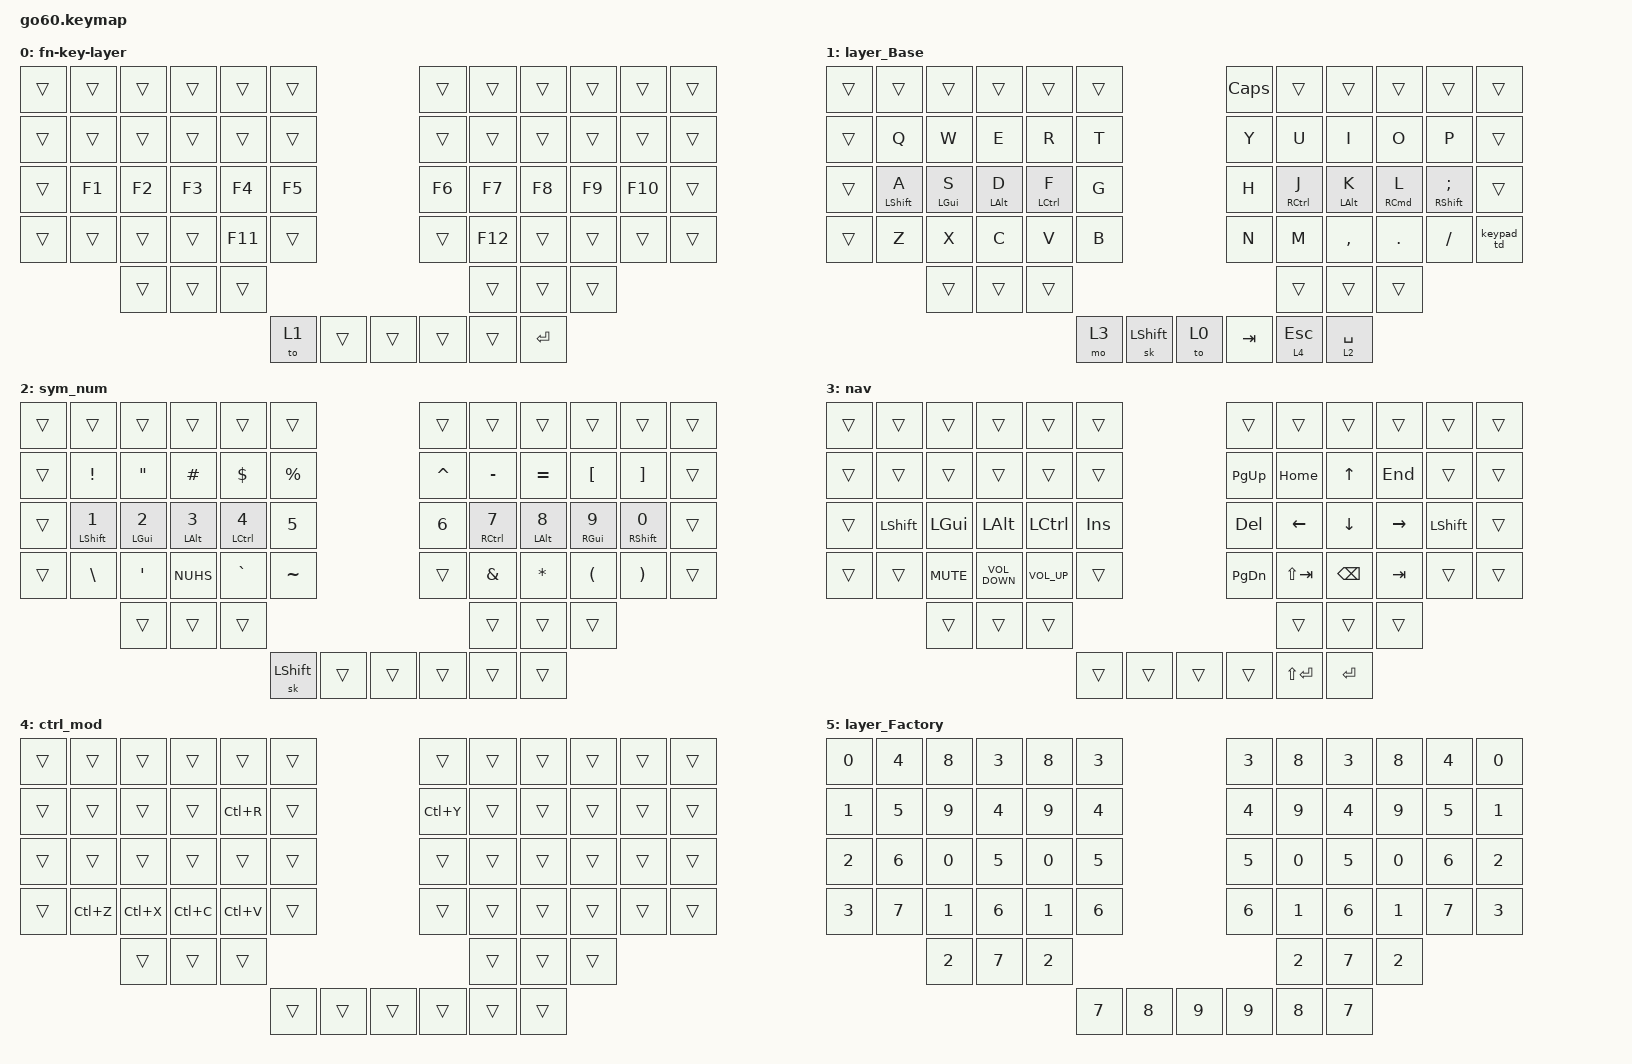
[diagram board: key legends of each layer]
/*
 * Copyright (c) 2020 The ZMK Contributors
 *
 * SPDX-License-Identifier: MIT
 */

#include <dt-bindings/zmk/input_transform.h>
#include <input/processors.dtsi>
#include <zephyr/dt-bindings/input/input-event-codes.h>
#include <behaviors.dtsi>
#include <dt-bindings/zmk/bt.h>
#include <dt-bindings/zmk/keys.h>
#include <dt-bindings/zmk/outputs.h>
#include <dt-bindings/zmk/rgb.h>

// layers

#define LAYER_Base 0
#define LAYER_Keypad 1
#define LAYER_SymbolNav 2
#define LAYER_Magic 3
#define LAYER_Factory 4

/ {
    input_processors {
        zip_click_to_right_click_mapper: zip_click_to_right_click_mapper {
            compatible = "zmk,input-processor-code-mapper";
            #input-processor-cells = <0>;
            type = <INPUT_EV_KEY>;
            map = <INPUT_BTN_0 INPUT_BTN_1>;
        };
    };

    behaviors {
        magic: magic {
            compatible = "zmk,behavior-hold-tap";
            #binding-cells = <2>;
            flavor = "tap-preferred";
            tapping-term-ms = <200>;
            bindings = <&mo>, <&rgb_ug_status_macro>;
        };

        keypad_td: keypad_td {
            compatible = "zmk,behavior-tap-dance";
            #binding-cells = <0>;
            tapping-term-ms = <200>;
            bindings = <&mo 0>, <&to 0>;
        };

        symbol_nav_td: symbol_nav_td {
            compatible = "zmk,behavior-tap-dance";
            #binding-cells = <0>;
            tapping-term-ms = <200>;
            bindings = <&mo 0>, <&to 0>;
        };

        bt_0: bt_0 {
            compatible = "zmk,behavior-tap-dance";
            #binding-cells = <0>;
            tapping-term-ms = <200>;
            bindings = <&bt_select_0>, <&bt BT_DISC 0>;
        };

        bt_1: bt_1 {
            compatible = "zmk,behavior-tap-dance";
            #binding-cells = <0>;
            tapping-term-ms = <200>;
            bindings = <&bt_select_1>, <&bt BT_DISC 1>;
        };

        bt_2: bt_2 {
            compatible = "zmk,behavior-tap-dance";
            #binding-cells = <0>;
            tapping-term-ms = <200>;
            bindings = <&bt_select_2>, <&bt BT_DISC 2>;
        };

        bt_3: bt_3 {
            compatible = "zmk,behavior-tap-dance";
            #binding-cells = <0>;
            tapping-term-ms = <200>;
            bindings = <&bt_select_3>, <&bt BT_DISC 3>;
        };

        hmsl: homerow_mods_shift_left {
            compatible = "zmk,behavior-hold-tap";
            label = "HOMEROW_MODS_SHIFT_LEFT";
            bindings = <&kp>, <&kp>;

            #binding-cells = <2>;
            tapping-term-ms = <150>;
            hold-trigger-key-positions = <0 1 2 3 4 5 12 13 14 15 16 17 24 25 26 27 28 29 36 37 38 39 40 41 48 49 50 54 55 56>;
            flavor = "balanced";
        };

        hmsr: homerow_mods_shift_right {
            compatible = "zmk,behavior-hold-tap";
            label = "HOMEROW_MODS_SHIFT_RIGHT";
            bindings = <&kp>, <&kp>;

            #binding-cells = <2>;
            tapping-term-ms = <150>;
            flavor = "balanced";
            hold-trigger-key-positions = <6 7 8 9 10 11 18 19 20 21 22 23 30 31 32 33 34 35 42 43 44 45 46 47 51 52 53 57 58 59>;
        };

        hml: homerow_mods_left {
            compatible = "zmk,behavior-hold-tap";
            label = "HOMEROW_MODS_LEFT_HAND";
            bindings = <&kp>, <&kp>;

            #binding-cells = <2>;
            tapping-term-ms = <200>;
            flavor = "balanced";
            hold-trigger-key-positions = <0 1 2 3 4 5 12 13 14 15 16 17 24 25 26 27 28 29 36 37 38 39 40 41 48 49 50 54 55 56>;
        };

        hmr: homerow_mods_right {
            compatible = "zmk,behavior-hold-tap";
            label = "HOMEROW_MODS_RIGHT_HAND";
            bindings = <&kp>, <&kp>;

            #binding-cells = <2>;
            tapping-term-ms = <200>;
            flavor = "balanced";
            hold-trigger-key-positions = <6 7 8 9 10 11 18 19 20 21 22 23 30 31 32 33 34 35 42 43 44 45 46 47 51 52 53 57 58 59>;
        };

        slw: space_layer2_switch {
            compatible = "zmk,behavior-hold-tap";
            label = "SLW";
            bindings = <&mo>, <&kp>;

            #binding-cells = <2>;
            tapping-term-ms = <150>;
            hold-trigger-key-positions = <6 7 8 9 10 11 18 19 20 21 22 23 30 31 32 33 34 35 42 43 44 45 46 47 51 52 53 57 58 59>;
        };
    };

    macros {
        rgb_ug_status_macro: rgb_ug_status_macro {
            compatible = "zmk,behavior-macro";
            #binding-cells = <0>;
            bindings = <&rgb_ug RGB_STATUS>;
        };

        bt_select_0: bt_select_0 {
            compatible = "zmk,behavior-macro";
            #binding-cells = <0>;
            bindings = <&out OUT_BLE &bt BT_SEL 0>;
        };

        bt_select_1: bt_select_1 {
            compatible = "zmk,behavior-macro";
            #binding-cells = <0>;
            bindings = <&out OUT_BLE &bt BT_SEL 1>;
        };

        bt_select_2: bt_select_2 {
            compatible = "zmk,behavior-macro";
            #binding-cells = <0>;
            bindings = <&out OUT_BLE &bt BT_SEL 2>;
        };

        bt_select_3: bt_select_3 {
            compatible = "zmk,behavior-macro";
            #binding-cells = <0>;
            bindings = <&out OUT_BLE &bt BT_SEL 3>;
        };
    };

    combos {
        compatible = "zmk,combos";

        to_layer_1 {
            bindings = <&to 1>;
            key-positions = <54 59>;
        };

        caps_word {
            bindings = <&caps_word>;
            key-positions = <55 58>;
        };
    };

    keymap {
        compatible = "zmk,keymap";

        fn-key-layer {
            bindings = <
&trans  &trans  &trans  &trans  &trans   &trans                                                  &trans  &trans   &trans  &trans  &trans   &trans
&trans  &trans  &trans  &trans  &trans   &trans                                                  &trans  &trans   &trans  &trans  &trans   &trans
&trans  &kp F1  &kp F2  &kp F3  &kp F4   &kp F5                                                  &kp F6  &kp F7   &kp F8  &kp F9  &kp F10  &trans
&trans  &trans  &trans  &trans  &kp F11  &trans                                                  &trans  &kp F12  &trans  &trans  &trans   &trans
                &trans  &trans  &trans                                                                   &trans   &trans  &trans
                                                 &to 1  &trans  &trans  &trans  &trans  &kp RET
            >;
        };

        layer_Base {
            bindings = <
&trans  &trans         &trans       &trans       &trans        &trans                                                               &kp CAPS  &trans        &trans       &trans       &trans            &trans
&trans  &kp Q          &kp W        &kp E        &kp R         &kp T                                                                &kp Y     &kp U         &kp I        &kp O        &kp P             &trans
&trans  &hmsl LSHFT A  &hmr LGUI S  &hml LALT D  &hml LCTRL F  &kp G                                                                &kp H     &hmr RCTRL J  &hmr LALT K  &hmr RCMD L  &hmsr RSHFT SEMI  &trans
&trans  &kp Z          &kp X        &kp C        &kp V         &kp B                                                                &kp N     &kp M         &kp COMMA    &kp DOT      &kp FSLH          &keypad_td
                       &trans       &trans       &trans                                                                                       &trans        &trans       &trans
                                                                       &mo 3  &sk LSHIFT  &to 0  &kp TAB  &slw 4 ESC  &slw 2 SPACE
            >;
        };

        sym_num {
            bindings = <
&trans  &trans          &trans             &trans              &trans         &trans                                                           &trans        &trans         &trans        &trans        &trans          &trans
&trans  &kp EXCL        &kp DOUBLE_QUOTES  &kp HASH            &kp DOLLAR     &kp PERCENT                                                      &kp CARET     &kp MINUS      &kp EQUAL     &kp LBKT      &kp RBKT        &trans
&trans  &hmsl LSHFT N1  &hml LGUI N2       &hml LALT NUMBER_3  &hml LCTRL N4  &kp N5                                                           &kp NUMBER_6  &hmr RCTRL N7  &hmr LALT N8  &hmr RGUI N9  &hmr RSHIFT N0  &trans
&trans  &kp BSLH        &kp SINGLE_QUOTE   &kp NUHS            &kp GRAVE      &kp TILDE                                                        &trans        &kp AMPERSAND  &kp ASTRK     &kp LPAR      &kp RPAR        &trans
                        &trans             &trans              &trans                                                                                        &trans         &trans        &trans
                                                                                           &sk LSHIFT  &trans  &trans  &trans  &trans  &trans
            >;
        };

        nav {
            bindings = <
&trans  &trans     &trans      &trans             &trans           &trans                                                         &trans     &trans          &trans         &trans     &trans     &trans
&trans  &trans     &trans      &trans             &trans           &trans                                                         &kp PG_UP  &kp HOME        &kp UP_ARROW   &kp END    &trans     &trans
&trans  &kp LSHFT  &kp LGUI    &kp LALT           &kp LCTRL        &kp INS                                                        &kp DEL    &kp LEFT_ARROW  &kp DOWN       &kp RIGHT  &kp LSHFT  &trans
&trans  &trans     &kp K_MUTE  &kp C_VOLUME_DOWN  &kp C_VOLUME_UP  &trans                                                         &kp PG_DN  &kp LS(TAB)     &kp BACKSPACE  &kp TAB    &trans     &trans
                   &trans      &trans             &trans                                                                                     &trans          &trans         &trans
                                                                            &trans  &trans  &trans  &trans  &kp LS(RET)  &kp RET
            >;
        };

        ctrl_mod {
            bindings = <
&trans  &trans     &trans     &trans     &trans     &trans                                                  &trans     &trans  &trans  &trans  &trans  &trans
&trans  &trans     &trans     &trans     &kp LC(R)  &trans                                                  &kp LC(Y)  &trans  &trans  &trans  &trans  &trans
&trans  &trans     &trans     &trans     &trans     &trans                                                  &trans     &trans  &trans  &trans  &trans  &trans
&trans  &kp LC(Z)  &kp LC(X)  &kp LC(C)  &kp LC(V)  &trans                                                  &trans     &trans  &trans  &trans  &trans  &trans
                   &trans     &trans     &trans                                                                        &trans  &trans  &trans
                                                            &trans  &trans  &trans  &trans  &trans  &trans
            >;
        };

        layer_Factory {
            bindings = <
&kp N0  &kp N4  &kp N8  &kp N3  &kp N8  &kp N3                                                  &kp N3  &kp N8  &kp N3  &kp N8  &kp N4  &kp N0
&kp N1  &kp N5  &kp N9  &kp N4  &kp N9  &kp N4                                                  &kp N4  &kp N9  &kp N4  &kp N9  &kp N5  &kp N1
&kp N2  &kp N6  &kp N0  &kp N5  &kp N0  &kp N5                                                  &kp N5  &kp N0  &kp N5  &kp N0  &kp N6  &kp N2
&kp N3  &kp N7  &kp N1  &kp N6  &kp N1  &kp N6                                                  &kp N6  &kp N1  &kp N6  &kp N1  &kp N7  &kp N3
                &kp N2  &kp N7  &kp N2                                                                  &kp N2  &kp N7  &kp N2
                                                &kp N7  &kp N8  &kp N9  &kp N9  &kp N8  &kp N7
            >;
        };
    };
};

&cirque_rh_listener {
    input-processors = <&zip_xy_scaler 3 1>;

    layer_2 {
        layers = <2>;
        input-processors = <&zip_xy_scaler 9 1>;
    };
};

&cirque_lh_listener {
    input-processors =
        <&zip_xy_to_scroll_mapper>,
        <&zip_xy_scaler 1 8>,
        <&zip_click_to_right_click_mapper>;

    layer_4 {
        layers = <4>;
        input-processors = <&zip_xy_scaler 3 1>;
    };
};
